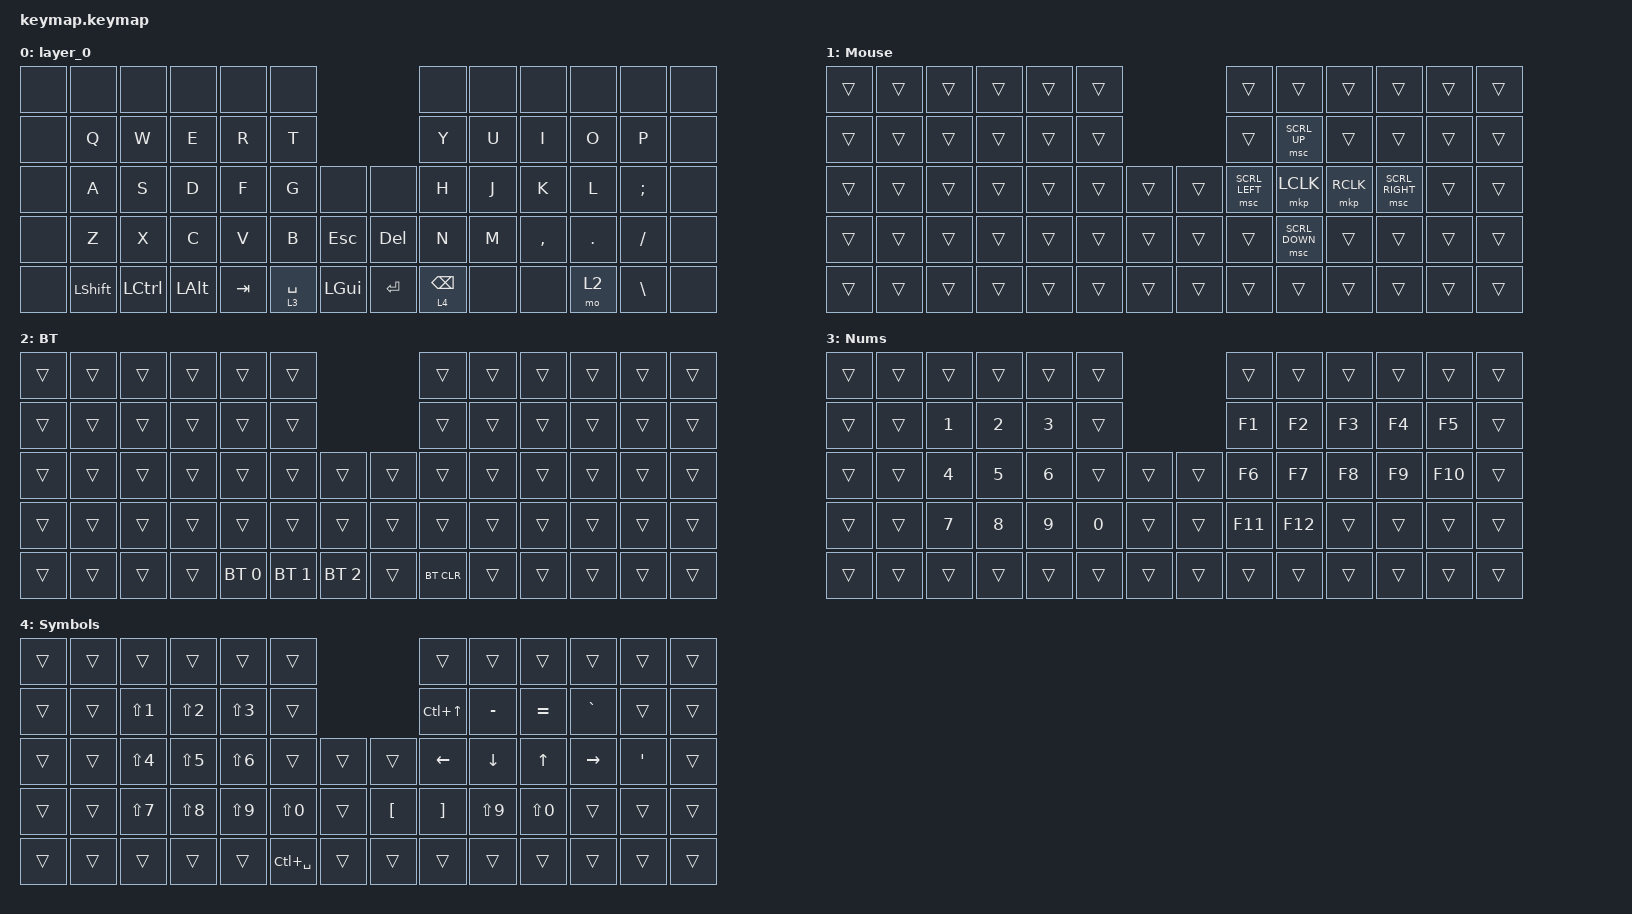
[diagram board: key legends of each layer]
#include <behaviors.dtsi>
#include <dt-bindings/zmk/bt.h>
#include <dt-bindings/zmk/keys.h>
#include <dt-bindings/zmk/pointing.h>

/ {
    combos { compatible = "zmk,combos"; };

    keymap {
        compatible = "zmk,keymap";

        layer_0 {
            bindings = <
&none  &none           &none      &none         &none    &none                                  &none            &none  &none      &none    &none          &none
&none  &kp Q           &kp W      &kp E         &kp R    &kp T                                  &kp Y            &kp U  &kp I      &kp O    &kp P          &none
&none  &kp A           &kp S      &kp D         &kp F    &kp G        &none         &none       &kp H            &kp J  &kp K      &kp L    &kp SEMI       &none
&none  &kp Z           &kp X      &kp C         &kp V    &kp B        &kp ESCAPE    &kp DELETE  &kp N            &kp M  &kp COMMA  &kp DOT  &kp SLASH      &none
&none  &kp LEFT_SHIFT  &kp LCTRL  &kp LEFT_ALT  &kp TAB  &lt 3 SPACE  &kp LEFT_GUI  &kp ENTER   &lt 4 BACKSPACE  &none  &none      &mo 2    &kp BACKSLASH  &none
            >;
        };

        Mouse {
            bindings = <
&trans  &trans  &trans  &trans  &trans  &trans                  &trans          &trans          &trans     &trans           &trans  &trans
&trans  &trans  &trans  &trans  &trans  &trans                  &trans          &msc SCRL_UP    &trans     &trans           &trans  &trans
&trans  &trans  &trans  &trans  &trans  &trans  &trans  &trans  &msc SCRL_LEFT  &mkp LCLK       &mkp RCLK  &msc SCRL_RIGHT  &trans  &trans
&trans  &trans  &trans  &trans  &trans  &trans  &trans  &trans  &trans          &msc SCRL_DOWN  &trans     &trans           &trans  &trans
&trans  &trans  &trans  &trans  &trans  &trans  &trans  &trans  &trans          &trans          &trans     &trans           &trans  &trans
            >;
        };

        BT {
            bindings = <
&trans  &trans  &trans  &trans  &trans        &trans                              &trans      &trans  &trans  &trans  &trans  &trans
&trans  &trans  &trans  &trans  &trans        &trans                              &trans      &trans  &trans  &trans  &trans  &trans
&trans  &trans  &trans  &trans  &trans        &trans        &trans        &trans  &trans      &trans  &trans  &trans  &trans  &trans
&trans  &trans  &trans  &trans  &trans        &trans        &trans        &trans  &trans      &trans  &trans  &trans  &trans  &trans
&trans  &trans  &trans  &trans  &bt BT_SEL 0  &bt BT_SEL 1  &bt BT_SEL 2  &trans  &bt BT_CLR  &trans  &trans  &trans  &trans  &trans
            >;
        };

        Nums {
            bindings = <
&trans  &trans  &trans        &trans        &trans        &trans                        &trans   &trans   &trans  &trans  &trans   &trans
&trans  &trans  &kp NUMBER_1  &kp NUMBER_2  &kp NUMBER_3  &trans                        &kp F1   &kp F2   &kp F3  &kp F4  &kp F5   &trans
&trans  &trans  &kp NUMBER_4  &kp NUMBER_5  &kp NUMBER_6  &trans        &trans  &trans  &kp F6   &kp F7   &kp F8  &kp F9  &kp F10  &trans
&trans  &trans  &kp NUMBER_7  &kp NUMBER_8  &kp NUMBER_9  &kp NUMBER_0  &trans  &trans  &kp F11  &kp F12  &trans  &trans  &trans   &trans
&trans  &trans  &trans        &trans        &trans        &trans        &trans  &trans  &trans   &trans   &trans  &trans  &trans   &trans
            >;
        };

        Symbols {
            bindings = <
&trans  &trans  &trans            &trans            &trans            &trans                                      &trans             &trans      &trans        &trans     &trans   &trans
&trans  &trans  &kp LS(NUMBER_1)  &kp LS(NUMBER_2)  &kp LS(NUMBER_3)  &trans                                      &kp LC(UP_ARROW)   &kp MINUS   &kp EQUAL     &kp GRAVE  &trans   &trans
&trans  &trans  &kp LS(NUMBER_4)  &kp LS(NUMBER_5)  &kp LS(NUMBER_6)  &trans            &trans  &trans            &kp LEFT           &kp DOWN    &kp UP_ARROW  &kp RIGHT  &kp SQT  &trans
&trans  &trans  &kp LS(NUMBER_7)  &kp LS(NUMBER_8)  &kp LS(NUMBER_9)  &kp LS(NUMBER_0)  &trans  &kp LEFT_BRACKET  &kp RIGHT_BRACKET  &kp LS(N9)  &kp LS(N0)    &trans     &trans   &trans
&trans  &trans  &trans            &trans            &trans            &kp LC(SPACE)     &trans  &trans            &trans             &trans      &trans        &trans     &trans   &trans
            >;
        };
    };
};
